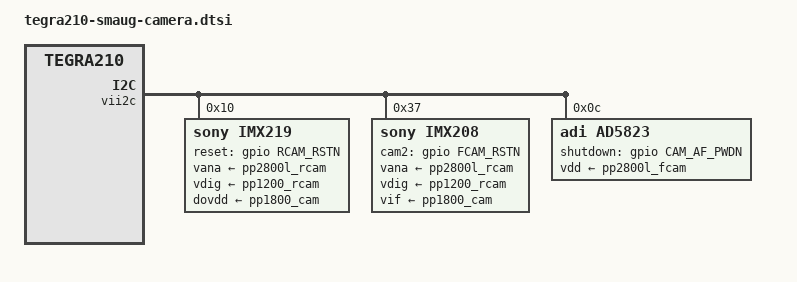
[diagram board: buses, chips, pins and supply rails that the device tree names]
#define CAM_I2C_BUS	7

/* camera control gpio definitions */
#define RCAM_RSTN	TEGRA_GPIO(T, 0)
#define FCAM_RSTN	TEGRA_GPIO(S, 7)
#define CAM_AF_PWDN	TEGRA_GPIO(S, 5)

&vii2c {
	imx219: imx219@10 {
		compatible = "sony,imx219";
		reg = <0x10>;
		vana-supply = <&pp2800l_rcam>;
		vdig-supply = <&pp1200_rcam>;
		dovdd-supply = <&pp1800_cam>;
		clocks = <&tegra_car TEGRA210_CLK_CLK_OUT_3>;
		clock-names = "clk_out_3";
		reset-gpios = <&gpio RCAM_RSTN GPIO_ACTIVE_HIGH>;
	};

	imx208: imx208@37 {
		compatible = "sony,imx208";
		reg = <0x37>;
		vana-supply = <&pp2800l_rcam>;
		vdig-supply = <&pp1200_rcam>;
		vif-supply = <&pp1800_cam>;
		clocks = <&tegra_car TEGRA210_CLK_CLK_OUT_3>;
		clock-names = "clk_out_3";
		cam2-gpios = <&gpio FCAM_RSTN GPIO_ACTIVE_HIGH>;
	};

	ad5823@c {
		compatible = "adi,ad5823";
		reg = <0xc>;
		vdd-supply = <&pp2800l_fcam>;
		shutdown-gpio = <&gpio CAM_AF_PWDN GPIO_ACTIVE_HIGH>;
	};
};

/ {
	tegra-camera-platform {
		modules {
			module0 {
				badge = "A44_rear_4BA808P1";
				position = "rear";
				orientation = "0";
				drivernode0 {
					pcl_id = "s_IMX219";
				};
				drivernode1 {
					pcl_id = "f_AD5823";
				};
			};

			module1{
				badge = "A44_front_4BF215T1";
				position = "front";
				orientation = "0";
				drivernode0 {
					pcl_id = "s_IMX208";
				};
			};
		};
	};
};
